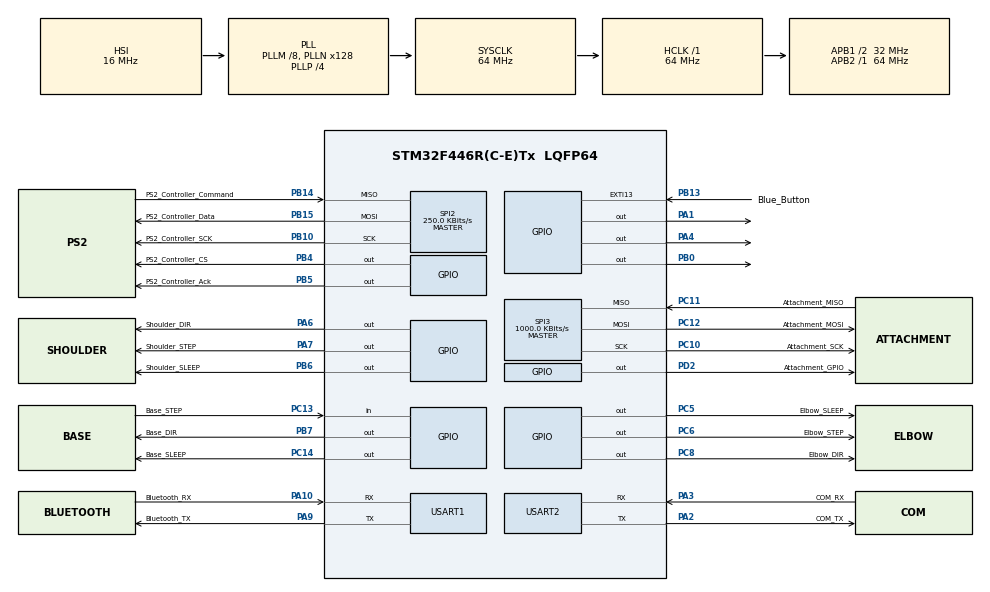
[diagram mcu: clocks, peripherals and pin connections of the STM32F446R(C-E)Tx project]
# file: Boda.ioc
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FREERTOS.Mutexes01=mPS2Data,Dynamic,NULL;mAttachmentCommand,Dynamic,NULL;BLE_Mutex,Dynamic,NULL
FREERTOS.Queues01=qCommandQueue,16,uint16_t,0,Dynamic,NULL,NULL;qResponseQueue,16,uint16_t,0,Dynamic,NULL,NULL
FREERTOS.Tasks01=PS2DataUpdate,40,128,StartPS2DataUpdate,Default,NULL,Dynamic,NULL,NULL;RobotArm,24,256,StartRobotArm,Default,NULL,Dynamic,NULL,NULL;Attachment,24,128,StartAttachment,Default,NULL,Dynamic,NULL,NULL;Bluetooth,40,128,StartBluetooth,Default,NULL,Dynamic,NULL,NULL;TESTING_THREAD,40,128,StartTESTING_THREAD,Default,NULL,Dynamic,NULL,NULL
FREERTOS.configENABLE_FPU=1
Mcu.Family=STM32F4
Mcu.Name=STM32F446R(C-E)Tx
Mcu.Package=LQFP64
NVIC.PriorityGroup=NVIC_PRIORITYGROUP_4
NVIC.TIM3_IRQn=true\:5\:0\:false\:false\:true\:true\:true\:true\:true
NVIC.TIM8_TRG_COM_TIM14_IRQn=true\:5\:0\:false\:false\:true\:true\:true\:true\:true
NVIC.TIM8_UP_TIM13_IRQn=true\:5\:0\:false\:false\:true\:true\:true\:true\:true
NVIC.USART1_IRQn=true\:5\:0\:false\:false\:true\:true\:true\:true\:true
PA1.Signal=GPIO_Output
PA10.GPIO_Label=Bluetooth_RX
PA10.Mode=Asynchronous
PA10.Signal=USART1_RX
PA2.GPIO_Label=COM_TX
PA2.Mode=Asynchronous
PA2.Signal=USART2_TX
PA3.GPIO_Label=COM_RX
PA3.Mode=Asynchronous
PA3.Signal=USART2_RX
PA4.Signal=GPIO_Output
PA6.GPIO_Label=Shoulder_DIR
PA6.Signal=GPIO_Output
PA7.GPIO_Label=Shoulder_STEP
PA7.Signal=GPIO_Output
PA9.GPIO_Label=Bluetooth_TX
PA9.Mode=Asynchronous
PA9.Signal=USART1_TX
PB0.Signal=GPIO_Output
PB10.GPIO_Label=PS2_Controller_SCK
PB10.Mode=Full_Duplex_Master
PB10.Signal=SPI2_SCK
PB13.GPIO_Label=Blue_Button
PB13.Signal=GPXTI13
PB14.GPIO_Label=PS2_Controller_Command
PB14.Mode=Full_Duplex_Master
PB14.Signal=SPI2_MISO
PB15.GPIO_Label=PS2_Controller_Data
PB15.Mode=Full_Duplex_Master
PB15.Signal=SPI2_MOSI
PB4.GPIO_Label=PS2_Controller_CS
PB4.Signal=GPIO_Output
PB5.GPIO_Label=PS2_Controller_Ack
PB5.Signal=GPIO_Output
PB6.GPIO_Label=Shoulder_SLEEP
PB6.Signal=GPIO_Output
PB7.GPIO_Label=Base_DIR
PB7.Signal=GPIO_Output
PC10.GPIO_Label=Attachment_SCK
PC10.Mode=Full_Duplex_Master
PC10.Signal=SPI3_SCK
PC11.GPIO_Label=Attachment_MISO
PC11.Mode=Full_Duplex_Master
PC11.Signal=SPI3_MISO
PC12.GPIO_Label=Attachment_MOSI
PC12.Mode=Full_Duplex_Master
PC12.Signal=SPI3_MOSI
PC13.GPIO_Label=Base_STEP
PC13.Signal=GPIO_Input
PC14-OSC32_IN.GPIO_Label=Base_SLEEP
PC14-OSC32_IN.Signal=GPIO_Output
PC5.GPIO_Label=Elbow_SLEEP
PC5.Signal=GPIO_Output
PC6.GPIO_Label=Elbow_STEP
PC6.Signal=GPIO_Output
PC8.GPIO_Label=Elbow_DIR
PC8.Signal=GPIO_Output
PD2.GPIO_Label=Attachment_GPIO
PD2.Signal=GPIO_Output
ProjectManager.HeapSize=0x200
ProjectManager.StackSize=0x400
ProjectManager.TargetToolchain=Makefile
RCC.48MHZClocksFreq_Value=84000000
RCC.AHBFreq_Value=64000000
RCC.APB1CLKDivider=RCC_HCLK_DIV2
RCC.APB1Freq_Value=32000000
RCC.APB1TimFreq_Value=64000000
RCC.APB2Freq_Value=64000000
RCC.APB2TimFreq_Value=64000000
RCC.CortexFreq_Value=64000000
RCC.FLatency-AdvancedSettings=FLASH_LATENCY_2
RCC.HCLKFreq_Value=64000000
RCC.HSE_VALUE=8000000
RCC.HSI_VALUE=16000000
RCC.PLLM=8
RCC.PLLN=128
RCC.PLLP=RCC_PLLP_DIV4
RCC.SYSCLKFreq_VALUE=64000000
RCC.SYSCLKSource=RCC_SYSCLKSOURCE_PLLCLK
RCC.USBFreq_Value=128000000
RCC.VCOOutputFreq_Value=256000000
SPI2.BaudRatePrescaler=SPI_BAUDRATEPRESCALER_128
SPI2.CLKPhase=SPI_PHASE_2EDGE
SPI2.CLKPolarity=SPI_POLARITY_HIGH
SPI2.CalculateBaudRate=250.0 KBits/s
SPI2.Direction=SPI_DIRECTION_2LINES
SPI2.FirstBit=SPI_FIRSTBIT_LSB
SPI2.Mode=SPI_MODE_MASTER
SPI2.VirtualType=VM_MASTER
SPI3.BaudRatePrescaler=SPI_BAUDRATEPRESCALER_32
SPI3.CLKPhase=SPI_PHASE_2EDGE
SPI3.CLKPolarity=SPI_POLARITY_HIGH
SPI3.CalculateBaudRate=1000.0 KBits/s
SPI3.DataSize=SPI_DATASIZE_16BIT
SPI3.Direction=SPI_DIRECTION_2LINES
SPI3.FirstBit=SPI_FIRSTBIT_MSB
SPI3.Mode=SPI_MODE_MASTER
SPI3.VirtualType=VM_MASTER
TIM1.Prescaler=72-1
TIM13.Prescaler=44
TIM14.Prescaler=44
TIM3.Prescaler=44
USART1.VirtualMode=VM_ASYNC
USART2.VirtualMode=VM_ASYNC
VP_FREERTOS_VS_CMSIS_V2.Mode=CMSIS_V2
VP_TIM13_VS_ClockSourceINT.Mode=Enable_Timer
VP_TIM14_VS_ClockSourceINT.Mode=Enable_Timer
VP_TIM1_VS_ClockSourceINT.Mode=Internal
VP_TIM3_VS_ClockSourceINT.Mode=Internal
board=NUCLEO-F446RE

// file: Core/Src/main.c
/* USER CODE BEGIN Header */
/**
 ******************************************************************************
 * @file           : main.c
 * @brief          : Main program body
 ******************************************************************************
 * @attention
 *
 * Copyright (c) 2023 STMicroelectronics.
 * All rights reserved.
 *
 * This software is licensed under terms that can be found in the LICENSE file
 * in the root directory of this software component.
 * If no LICENSE file comes with this software, it is provided AS-IS.
 *
 ******************************************************************************
 */
/* USER CODE END Header */
#include "main.h"
#include "cmsis_os.h"

/* USER CODE BEGIN Includes */

#include "string.h"
#include "PS2.h"
#include "A4988.h"
#include "robot_arm.h"
#include "stm32f4xx_hal_tim.h"
#include "stdbool.h"

/* USER CODE END Includes */

/* USER CODE BEGIN PTD */

// Motor 1
#define motor1_dir_port GPIOC
#define motor1_dir_pin GPIO_PIN_8
#define motor1_step_port GPIOC
#define motor1_step_pin GPIO_PIN_6
#define motor1_sleep_port GPIOC
#define motor1_sleep_pin GPIO_PIN_5

// Motor 2
#define motor2_dir_port GPIOA
#define motor2_dir_pin GPIO_PIN_6
#define motor2_step_port GPIOA
#define motor2_step_pin GPIO_PIN_7
#define motor2_sleep_port GPIOB
#define motor2_sleep_pin GPIO_PIN_6

// #define motor3_dir_port GPIOA
// #define motor3_dir_pin GPIO_PIN_6
// #define motor3_step_port GPIOA
// #define motor3_step_pin GPIO_PIN_7
// #define motor3_sleep_port GPIOB
// #define motor3_sleep_pin GPIO_PIN_6

// Motor 3
// #define motor3_dir_port GPIOB
// #define motor3_dir_pin GPIO_PIN_7
// #define motor3_step_port GPIOC
// #define motor3_step_pin GPIO_PIN_13
// #define motor3_sleep_port GPIOC
// #define motor3_sleep_pin GPIO_PIN_14

#define motor3_dir_port GPIOA
#define motor3_dir_pin GPIO_PIN_1
#define motor3_step_port GPIOA
#define motor3_step_pin GPIO_PIN_4
#define motor3_sleep_port GPIOB
#define motor3_sleep_pin GPIO_PIN_0

// #define motor2_dir_port GPIOA
// #define motor2_dir_pin GPIO_PIN_1
// #define motor2_step_port GPIOA
// #define motor2_step_pin GPIO_PIN_4
// #define motor2_sleep_port GPIOB
// #define motor2_sleep_pin GPIO_PIN_0

// Controller Input Processing
#define UPDATE_BUTTONS_SIGNAL 0x01

#define BUFFER_SIZE 20

/* USER CODE END PTD */

/* USER CODE BEGIN PM */

#define map_range(value, in_min, in_max, out_min, out_max) \
  (((value) - (in_min)) * ((out_max) - (out_min)) / ((in_max) - (in_min)) + (out_min))

#define low_rpm 50
#define high_rpm 300

/* USER CODE END PM */

SPI_HandleTypeDef hspi2;
SPI_HandleTypeDef hspi3;

TIM_HandleTypeDef htim1;
TIM_HandleTypeDef htim3;
TIM_HandleTypeDef htim13;
TIM_HandleTypeDef htim14;

UART_HandleTypeDef huart1;
UART_HandleTypeDef huart2;

/* Definitions for PS2DataUpdate */
osThreadId_t PS2DataUpdateHandle;
const osThreadAttr_t PS2DataUpdate_attributes = {
  .name = "PS2DataUpdate",
  .stack_size = 128 * 4,
  .priority = (osPriority_t) osPriorityHigh,
};
/* Definitions for RobotArm */
osThreadId_t RobotArmHandle;
const osThreadAttr_t RobotArm_attributes = {
  .name = "RobotArm",
  .stack_size = 256 * 4,
  .priority = (osPriority_t) osPriorityNormal,
};
/* Definitions for Attachment */
osThreadId_t AttachmentHandle;
const osThreadAttr_t Attachment_attributes = {
  .name = "Attachment",
  .stack_size = 128 * 4,
  .priority = (osPriority_t) osPriorityNormal,
};
/* Definitions for Bluetooth */
osThreadId_t BluetoothHandle;
const osThreadAttr_t Bluetooth_attributes = {
  .name = "Bluetooth",
  .stack_size = 128 * 4,
  .priority = (osPriority_t) osPriorityHigh,
};
/* Definitions for TESTING_THREAD */
osThreadId_t TESTING_THREADHandle;
const osThreadAttr_t TESTING_THREAD_attributes = {
  .name = "TESTING_THREAD",
  .stack_size = 128 * 4,
  .priority = (osPriority_t) osPriorityHigh,
};
/* Definitions for qCommandQueue */
osMessageQueueId_t qCommandQueueHandle;
const osMessageQueueAttr_t qCommandQueue_attributes = {
  .name = "qCommandQueue"
};
/* Definitions for qResponseQueue */
osMessageQueueId_t qResponseQueueHandle;
const osMessageQueueAttr_t qResponseQueue_attributes = {
  .name = "qResponseQueue"
};
/* Definitions for mPS2Data */
osMutexId_t mPS2DataHandle;
const osMutexAttr_t mPS2Data_attributes = {
  .name = "mPS2Data"
};
/* Definitions for mAttachmentCommand */
osMutexId_t mAttachmentCommandHandle;
const osMutexAttr_t mAttachmentCommand_attributes = {
  .name = "mAttachmentCommand"
};
/* Definitions for BLE_Mutex */
osMutexId_t BLE_MutexHandle;
const osMutexAttr_t BLE_Mutex_attributes = {
  .name = "BLE_Mutex"
};
/* USER CODE BEGIN PV */

PS2ControllerHandler ps2;
uint16_t attachmentCommand = 0;
bool attachmentConnected = false;
uint16_t ID = 0;

enum States
{
  Wait,
  Identify,
  Connecting,
  Input,
  Await,
  Disconnected
};

// ======== ATTACHMENT VARIABLES =============
volatile uint8_t attach_input;

float rpm = 300;
short microsteps = FULL_STEPS;
double deg = 20;
const short spr = 200; // Steps per revolution

uint8_t vert_val;
uint8_t horiz_val;
// volatile uint8_t receivedFlag = 0; // Flag to indicate data reception
// volatile uint8_t rxByte;           // Byte received from UART

// variables for Motors
stepper *motor1 = NULL;
stepper *motor2 = NULL;
stepper *motor3 = NULL;
stepper *motor4 = NULL;

// Variables for Robot Arm
arm *robot_arm;

uint8_t current_coord = 0;

uint8_t RxBuffer[BUFFER_SIZE] = {0}; // Buffer to store data received

uint8_t RxBuffer0[BUFFER_SIZE] = {0};

uint8_t Process_Buffer[BUFFER_SIZE] = {0};

/* USER CODE END PV */

void SystemClock_Config(void);
static void MX_GPIO_Init(void);
static void MX_SPI2_Init(void);
static void MX_TIM3_Init(void);
static void MX_USART2_UART_Init(void);
static void MX_TIM1_Init(void);
static void MX_TIM14_Init(void);
static void MX_SPI3_Init(void);
static void MX_TIM13_Init(void);
static void MX_USART1_UART_Init(void);
void StartPS2DataUpdate(void *argument);
void StartRobotArm(void *argument);
void StartAttachment(void *argument);
void StartBluetooth(void *argument);
void StartTESTING_THREAD(void *argument);

/* USER CODE BEGIN PFP */

void PS2_Init(PS2ControllerHandler *ps2);

uint16_t TransmitReceiveCommand(uint8_t cmd, uint8_t data);

/* USER CODE END PFP */

int main(void)
{

  /* MCU Configuration--------------------------------------------------------*/

  /* Reset of all peripherals, Initializes the Flash interface and the Systick. */
  HAL_Init();

  /* Configure the system clock */
  SystemClock_Config();

  /* Initialize all configured peripherals */
  MX_GPIO_Init();
  MX_SPI2_Init();
  MX_TIM3_Init();
  MX_USART2_UART_Init();
  MX_TIM1_Init();
  MX_TIM14_Init();
  MX_SPI3_Init();
  MX_TIM13_Init();
  MX_USART1_UART_Init();
  /* USER CODE BEGIN 2 */

  HAL_GPIO_WritePin(GPIOA, GPIO_PIN_4, GPIO_PIN_SET);

  // Enable TIM3 global Interrupt & set priority
  HAL_NVIC_SetPriority(TIM3_IRQn, 0, 0);
  HAL_NVIC_EnableIRQ(TIM3_IRQn);

  //----------PS2 INIT----------//
  PS2_Init(&ps2);

  /* USER CODE END 2 */

  /* Init scheduler */
  osKernelInitialize();
  /* Create the mutex(es) */
  /* creation of mPS2Data */
  mPS2DataHandle = osMutexNew(&mPS2Data_attributes);

  /* creation of mAttachmentCommand */
  mAttachmentCommandHandle = osMutexNew(&mAttachmentCommand_attributes);

  /* creation of BLE_Mutex */
  BLE_MutexHandle = osMutexNew(&BLE_Mutex_attributes);

  /* Create the queue(s) */
  /* creation of qCommandQueue */
  qCommandQueueHandle = osMessageQueueNew (16, sizeof(uint16_t), &qCommandQueue_attributes);

  /* creation of qResponseQueue */
  qResponseQueueHandle = osMessageQueueNew (16, sizeof(uint16_t), &qResponseQueue_attributes);

  /* Create the thread(s) */
  /* creation of PS2DataUpdate */
  PS2DataUpdateHandle = osThreadNew(StartPS2DataUpdate, NULL, &PS2DataUpdate_attributes);

  /* creation of RobotArm */
  RobotArmHandle = osThreadNew(StartRobotArm, NULL, &RobotArm_attributes);

  /* creation of Attachment */
  AttachmentHandle = osThreadNew(StartAttachment, NULL, &Attachment_attributes);

  /* creation of Bluetooth */
  BluetoothHandle = osThreadNew(StartBluetooth, NULL, &Bluetooth_attributes);

  /* creation of TESTING_THREAD */
  TESTING_THREADHandle = osThreadNew(StartTESTING_THREAD, NULL, &TESTING_THREAD_attributes);

  /* Start scheduler */
  osKernelStart();

  /* We should never get here as control is now taken by the scheduler */
  /* Infinite loop */

}

void SystemClock_Config(void)
{
  RCC_OscInitTypeDef RCC_OscInitStruct = {0};
  RCC_ClkInitTypeDef RCC_ClkInitStruct = {0};

  /** Configure the main internal regulator output voltage
  */
  __HAL_RCC_PWR_CLK_ENABLE();
  __HAL_PWR_VOLTAGESCALING_CONFIG(PWR_REGULATOR_VOLTAGE_SCALE3);

  /** Initializes the RCC Oscillators according to the specified parameters
  * in the RCC_OscInitTypeDef structure.
  */
  RCC_OscInitStruct.OscillatorType = RCC_OSCILLATORTYPE_HSI;
  RCC_OscInitStruct.HSIState = RCC_HSI_ON;
  RCC_OscInitStruct.HSICalibrationValue = RCC_HSICALIBRATION_DEFAULT;
  RCC_OscInitStruct.PLL.PLLState = RCC_PLL_ON;
  RCC_OscInitStruct.PLL.PLLSource = RCC_PLLSOURCE_HSI;
  RCC_OscInitStruct.PLL.PLLM = 8;
  RCC_OscInitStruct.PLL.PLLN = 128;
  RCC_OscInitStruct.PLL.PLLP = RCC_PLLP_DIV4;
  RCC_OscInitStruct.PLL.PLLQ = 2;
  RCC_OscInitStruct.PLL.PLLR = 2;
  if (HAL_RCC_OscConfig(&RCC_OscInitStruct) != HAL_OK)
  {
    Error_Handler();
  }

  /** Initializes the CPU, AHB and APB buses clocks
  */
  RCC_ClkInitStruct.ClockType = RCC_CLOCKTYPE_HCLK|RCC_CLOCKTYPE_SYSCLK
                              |RCC_CLOCKTYPE_PCLK1|RCC_CLOCKTYPE_PCLK2;
  RCC_ClkInitStruct.SYSCLKSource = RCC_SYSCLKSOURCE_PLLCLK;
  RCC_ClkInitStruct.AHBCLKDivider = RCC_SYSCLK_DIV1;
  RCC_ClkInitStruct.APB1CLKDivider = RCC_HCLK_DIV2;
  RCC_ClkInitStruct.APB2CLKDivider = RCC_HCLK_DIV1;

  if (HAL_RCC_ClockConfig(&RCC_ClkInitStruct, FLASH_LATENCY_2) != HAL_OK)
  {
    Error_Handler();
  }
}

static void MX_SPI2_Init(void)
{

  /* SPI2 parameter configuration*/
  hspi2.Instance = SPI2;
  hspi2.Init.Mode = SPI_MODE_MASTER;
  hspi2.Init.Direction = SPI_DIRECTION_2LINES;
  hspi2.Init.DataSize = SPI_DATASIZE_8BIT;
  hspi2.Init.CLKPolarity = SPI_POLARITY_HIGH;
  hspi2.Init.CLKPhase = SPI_PHASE_2EDGE;
  hspi2.Init.NSS = SPI_NSS_SOFT;
  hspi2.Init.BaudRatePrescaler = SPI_BAUDRATEPRESCALER_128;
  hspi2.Init.FirstBit = SPI_FIRSTBIT_LSB;
  hspi2.Init.TIMode = SPI_TIMODE_DISABLE;
  hspi2.Init.CRCCalculation = SPI_CRCCALCULATION_DISABLE;
  hspi2.Init.CRCPolynomial = 10;
  if (HAL_SPI_Init(&hspi2) != HAL_OK)
  {
    Error_Handler();
  }

}

static void MX_SPI3_Init(void)
{

  /* SPI3 parameter configuration*/
  hspi3.Instance = SPI3;
  hspi3.Init.Mode = SPI_MODE_MASTER;
  hspi3.Init.Direction = SPI_DIRECTION_2LINES;
  hspi3.Init.DataSize = SPI_DATASIZE_16BIT;
  hspi3.Init.CLKPolarity = SPI_POLARITY_HIGH;
  hspi3.Init.CLKPhase = SPI_PHASE_2EDGE;
  hspi3.Init.NSS = SPI_NSS_SOFT;
  hspi3.Init.BaudRatePrescaler = SPI_BAUDRATEPRESCALER_32;
  hspi3.Init.FirstBit = SPI_FIRSTBIT_MSB;
  hspi3.Init.TIMode = SPI_TIMODE_DISABLE;
  hspi3.Init.CRCCalculation = SPI_CRCCALCULATION_DISABLE;
  hspi3.Init.CRCPolynomial = 10;
  if (HAL_SPI_Init(&hspi3) != HAL_OK)
  {
    Error_Handler();
  }

}

static void MX_TIM1_Init(void)
{

  TIM_ClockConfigTypeDef sClockSourceConfig = {0};
  TIM_MasterConfigTypeDef sMasterConfig = {0};

  htim1.Instance = TIM1;
  htim1.Init.Prescaler = 72-1;
  htim1.Init.CounterMode = TIM_COUNTERMODE_UP;
  htim1.Init.Period = 65535;
  htim1.Init.ClockDivision = TIM_CLOCKDIVISION_DIV1;
  htim1.Init.RepetitionCounter = 0;
  htim1.Init.AutoReloadPreload = TIM_AUTORELOAD_PRELOAD_DISABLE;
  if (HAL_TIM_Base_Init(&htim1) != HAL_OK)
  {
    Error_Handler();
  }
  sClockSourceConfig.ClockSource = TIM_CLOCKSOURCE_INTERNAL;
  if (HAL_TIM_ConfigClockSource(&htim1, &sClockSourceConfig) != HAL_OK)
  {
    Error_Handler();
  }
  sMasterConfig.MasterOutputTrigger = TIM_TRGO_RESET;
  sMasterConfig.MasterSlaveMode = TIM_MASTERSLAVEMODE_DISABLE;
  if (HAL_TIMEx_MasterConfigSynchronization(&htim1, &sMasterConfig) != HAL_OK)
  {
    Error_Handler();
  }

}

static void MX_TIM3_Init(void)
{

  TIM_ClockConfigTypeDef sClockSourceConfig = {0};
  TIM_MasterConfigTypeDef sMasterConfig = {0};

  htim3.Instance = TIM3;
  htim3.Init.Prescaler = 44;
  htim3.Init.CounterMode = TIM_COUNTERMODE_UP;
  htim3.Init.Period = 65535;
  htim3.Init.ClockDivision = TIM_CLOCKDIVISION_DIV1;
  htim3.Init.AutoReloadPreload = TIM_AUTORELOAD_PRELOAD_DISABLE;
  if (HAL_TIM_Base_Init(&htim3) != HAL_OK)
  {
    Error_Handler();
  }
  sClockSourceConfig.ClockSource = TIM_CLOCKSOURCE_INTERNAL;
  if (HAL_TIM_ConfigClockSource(&htim3, &sClockSourceConfig) != HAL_OK)
  {
    Error_Handler();
  }
  sMasterConfig.MasterOutputTrigger = TIM_TRGO_RESET;
  sMasterConfig.MasterSlaveMode = TIM_MASTERSLAVEMODE_DISABLE;
  if (HAL_TIMEx_MasterConfigSynchronization(&htim3, &sMasterConfig) != HAL_OK)
  {
    Error_Handler();
  }

}

static void MX_TIM13_Init(void)
{

  htim13.Instance = TIM13;
  htim13.Init.Prescaler = 44;
  htim13.Init.CounterMode = TIM_COUNTERMODE_UP;
  htim13.Init.Period = 65535;
  htim13.Init.ClockDivision = TIM_CLOCKDIVISION_DIV1;
  htim13.Init.AutoReloadPreload = TIM_AUTORELOAD_PRELOAD_DISABLE;
  if (HAL_TIM_Base_Init(&htim13) != HAL_OK)
  {
    Error_Handler();
  }

}

static void MX_TIM14_Init(void)
{

  htim14.Instance = TIM14;
  htim14.Init.Prescaler = 44;
  htim14.Init.CounterMode = TIM_COUNTERMODE_UP;
  htim14.Init.Period = 65535;
  htim14.Init.ClockDivision = TIM_CLOCKDIVISION_DIV1;
  htim14.Init.AutoReloadPreload = TIM_AUTORELOAD_PRELOAD_DISABLE;
  if (HAL_TIM_Base_Init(&htim14) != HAL_OK)
  {
    Error_Handler();
  }

}

static void MX_USART1_UART_Init(void)
{

  huart1.Instance = USART1;
  huart1.Init.BaudRate = 115200;
  huart1.Init.WordLength = UART_WORDLENGTH_8B;
  huart1.Init.StopBits = UART_STOPBITS_1;
  huart1.Init.Parity = UART_PARITY_NONE;
  huart1.Init.Mode = UART_MODE_TX_RX;
  huart1.Init.HwFlowCtl = UART_HWCONTROL_NONE;
  huart1.Init.OverSampling = UART_OVERSAMPLING_16;
  if (HAL_UART_Init(&huart1) != HAL_OK)
  {
    Error_Handler();
  }

}

static void MX_USART2_UART_Init(void)
{

  huart2.Instance = USART2;
  huart2.Init.BaudRate = 115200;
  huart2.Init.WordLength = UART_WORDLENGTH_8B;
  huart2.Init.StopBits = UART_STOPBITS_1;
  huart2.Init.Parity = UART_PARITY_NONE;
  huart2.Init.Mode = UART_MODE_TX_RX;
  huart2.Init.HwFlowCtl = UART_HWCONTROL_NONE;
  huart2.Init.OverSampling = UART_OVERSAMPLING_16;
  if (HAL_UART_Init(&huart2) != HAL_OK)
  {
    Error_Handler();
  }

}

static void MX_GPIO_Init(void)
{
  GPIO_InitTypeDef GPIO_InitStruct = {0};

  /* GPIO Ports Clock Enable */
  __HAL_RCC_GPIOC_CLK_ENABLE();
  __HAL_RCC_GPIOA_CLK_ENABLE();
  __HAL_RCC_GPIOB_CLK_ENABLE();
  __HAL_RCC_GPIOD_CLK_ENABLE();

  /*Configure GPIO pin Output Level */
  HAL_GPIO_WritePin(GPIOC, Base_SLEEP_Pin|Elbow_SLEEP_Pin|Elbow_STEP_Pin|Elbow_DIR_Pin, GPIO_PIN_RESET);

  /*Configure GPIO pin Output Level */
  HAL_GPIO_WritePin(GPIOA, GPIO_PIN_1|GPIO_PIN_4|Shoulder_DIR_Pin|Shoulder_STEP_Pin, GPIO_PIN_RESET);

  /*Configure GPIO pin Output Level */
  HAL_GPIO_WritePin(GPIOB, GPIO_PIN_0|PS2_Controller_CS_Pin|PS2_Controller_Ack_Pin|Shoulder_SLEEP_Pin
                          |Base_DIR_Pin, GPIO_PIN_RESET);

  /*Configure GPIO pin Output Level */
  HAL_GPIO_WritePin(Attachment_GPIO_GPIO_Port, Attachment_GPIO_Pin, GPIO_PIN_RESET);

  /*Configure GPIO pin : Base_STEP_Pin */
  GPIO_InitStruct.Pin = Base_STEP_Pin;
  GPIO_InitStruct.Mode = GPIO_MODE_INPUT;
  GPIO_InitStruct.Pull = GPIO_NOPULL;
  HAL_GPIO_Init(Base_STEP_GPIO_Port, &GPIO_InitStruct);

  /*Configure GPIO pins : Base_SLEEP_Pin Elbow_SLEEP_Pin Elbow_STEP_Pin Elbow_DIR_Pin */
  GPIO_InitStruct.Pin = Base_SLEEP_Pin|Elbow_SLEEP_Pin|Elbow_STEP_Pin|Elbow_DIR_Pin;
  GPIO_InitStruct.Mode = GPIO_MODE_OUTPUT_PP;
  GPIO_InitStruct.Pull = GPIO_NOPULL;
  GPIO_InitStruct.Speed = GPIO_SPEED_FREQ_LOW;
  HAL_GPIO_Init(GPIOC, &GPIO_InitStruct);

  /*Configure GPIO pins : PA1 PA4 Shoulder_DIR_Pin Shoulder_STEP_Pin */
  GPIO_InitStruct.Pin = GPIO_PIN_1|GPIO_PIN_4|Shoulder_DIR_Pin|Shoulder_STEP_Pin;
  GPIO_InitStruct.Mode = GPIO_MODE_OUTPUT_PP;
  GPIO_InitStruct.Pull = GPIO_NOPULL;
  GPIO_InitStruct.Speed = GPIO_SPEED_FREQ_LOW;
  HAL_GPIO_Init(GPIOA, &GPIO_InitStruct);

  /*Configure GPIO pins : PB0 PS2_Controller_CS_Pin PS2_Controller_Ack_Pin Shoulder_SLEEP_Pin
                           Base_DIR_Pin */
  GPIO_InitStruct.Pin = GPIO_PIN_0|PS2_Controller_CS_Pin|PS2_Controller_Ack_Pin|Shoulder_SLEEP_Pin
                          |Base_DIR_Pin;
  GPIO_InitStruct.Mode = GPIO_MODE_OUTPUT_PP;
  GPIO_InitStruct.Pull = GPIO_NOPULL;
  GPIO_InitStruct.Speed = GPIO_SPEED_FREQ_LOW;
  HAL_GPIO_Init(GPIOB, &GPIO_InitStruct);

  /*Configure GPIO pin : Blue_Button_Pin */
  GPIO_InitStruct.Pin = Blue_Button_Pin;
  GPIO_InitStruct.Mode = GPIO_MODE_IT_RISING;
  GPIO_InitStruct.Pull = GPIO_NOPULL;
  HAL_GPIO_Init(Blue_Button_GPIO_Port, &GPIO_InitStruct);

  /*Configure GPIO pin : Attachment_GPIO_Pin */
  GPIO_InitStruct.Pin = Attachment_GPIO_Pin;
  GPIO_InitStruct.Mode = GPIO_MODE_OUTPUT_PP;
  GPIO_InitStruct.Pull = GPIO_NOPULL;
  GPIO_InitStruct.Speed = GPIO_SPEED_FREQ_LOW;
  HAL_GPIO_Init(Attachment_GPIO_GPIO_Port, &GPIO_InitStruct);

}

/* USER CODE BEGIN 4 */

void jog_motor(stepper *motor, float rpm, bool dir, int cont_amount)
{
  if (motor->steps_remaining)
  {
    motor->steps_remaining = cont_amount;
  }
  else
  {
    // move_stepper_steps(motor1, 500, 350.0);
    // set_rpm(motor, rpm);
    if (dir)
    {
      // move_stepper_deg(motor, cont_amount);
      move_stepper_steps(motor, cont_amount, rpm);
    }
    else
    {
      // move_stepper_deg(motor, -1*cont_amount);
      move_stepper_steps(motor, -1*cont_amount, rpm);
    }
  }
}

void HAL_UART_RxCpltCallback(UART_HandleTypeDef *huart)
{
  if (huart->Instance == USART1)
  {
    osMutexWait(BLE_MutexHandle, 50);
    for(int i = 0; i < BUFFER_SIZE; i++)
      {
          RxBuffer[i] = RxBuffer0[i];
      }
    osMutexRelease(BLE_MutexHandle);

    // Notify the BLE task that data has been received
    BaseType_t xHigherPriorityTaskWoken = pdFALSE;
    vTaskNotifyGiveFromISR(BluetoothHandle, &xHigherPriorityTaskWoken);
    portYIELD_FROM_ISR(xHigherPriorityTaskWoken);
  }
}

// Callback function
void HAL_TIM_PeriodElapsedCallback(TIM_HandleTypeDef *htim)
{
  callback_pulse(robot_arm, htim);
}

void PS2_Init(PS2ControllerHandler *ps2)
{
  ps2->Ack_GPIO = PS2_Controller_Ack_GPIO_Port;
  ps2->Ack_PIN = PS2_Controller_Ack_Pin;
  ps2->CS_GPIO = PS2_Controller_CS_GPIO_Port;
  ps2->CS_PIN = PS2_Controller_CS_Pin;
  ps2->spi = &hspi2;
  ps2->tim = &htim1;
  HAL_GPIO_WritePin(ps2->Ack_GPIO, ps2->Ack_PIN, GPIO_PIN_SET);
}

inline uint16_t TransmitReceiveCommand(uint8_t cmd, uint8_t data)
{
  if (attachmentConnected == false)
  {
    return 0;
  }

  uint16_t rsp = 0;
  uint16_t tempCmd = 0;
  // if the command is either set address or send index, 16 bits is needed to be sent
  if (0x20 > cmd && cmd > 0x0F)
  {
    tempCmd = (uint16_t)(cmd << 8) | data;
  }
  else if (cmd == 0x20 || cmd == 0x21 || cmd == 0x22 || cmd == 0x23 || cmd == 0x24 || cmd == 0x25 || cmd == 0x27)
  {
    tempCmd = (uint16_t)(cmd << 8) | data;
  }
  else
  {
    tempCmd = (uint16_t)(cmd << 8);
  }
  // // get the awaiting response mutex
  osMutexWait(mAttachmentCommandHandle, 50);

  // // set the command
  osMessageQueuePut(qCommandQueueHandle, (uint16_t *)&tempCmd, 0U, 50);

  // Receiving the message has a 5 ms delay so to make sure it doesnt hang, yield the thread this is called in to free resources
  osThreadYield();

  // Wait for response
  osMessageQueueGet(qResponseQueueHandle, (uint16_t *)&rsp, 0U, osWaitForever);

  // // return the response/result of command
  osMutexRelease(mAttachmentCommandHandle);
  return rsp;
}

/* USER CODE END 4 */

void StartPS2DataUpdate(void *argument)
{
  /* USER CODE BEGIN 5 */

  /* Infinite loop */
  // Attempt to get the PS2Data Mutex
  // for (;;)
  // {
  //   osMutexWait(mPS2DataHandle, 50);
  //   PS2_Update(&ps2);
  //   // delay for 25 microseconds
  //   osMutexRelease(mPS2DataHandle);
  //   osDelay(25U);
  // }
  // Return the PS2Data Mutex
  while(1)
  {
    osDelay(1);
  }
  /* USER CODE END 5 */
}

void StartRobotArm(void *argument)
{
  /* USER CODE BEGIN StartRobotArm */
  // Function Variables
  float rpm = 300;
  short microsteps = FULL_STEPS;
  double deg = 20;
  // const short spr = 200; // Steps per revolution

  stepper *stepper_motor1 = pvPortMalloc(sizeof(stepper));
  if (stepper_motor1 == NULL)
  {
    // Handle memory allocation error
  }

  stepper *stepper_motor2 = pvPortMalloc(sizeof(stepper));
  if (stepper_motor2 == NULL)
  {
    // Handle memory allocation error
  }

  stepper *stepper_motor3 = pvPortMalloc(sizeof(stepper));
  if (stepper_motor3 == NULL)
  {
    // Handle memory allocation error
  }

  // // Motor 3
  motor3 = stepper_motor3;
  init_stepper(motor3, 100, 80);
  init_dir_pin(motor3, motor3_dir_port, motor3_dir_pin);
  init_step_pin(motor3, motor3_step_port, motor3_step_pin);
  init_sleep_pin(motor3, motor3_sleep_port, motor3_sleep_pin);
  set_micro_en(motor3, 0);
  set_timer(motor3, &htim13);
  set_rpm(motor3, 40);

  // // Motor 2
  motor2 = stepper_motor2;
  init_stepper(motor2, 100, 80);
  init_dir_pin(motor2, motor2_dir_port, motor2_dir_pin);
  init_step_pin(motor2, motor2_step_port, motor2_step_pin);
  init_sleep_pin(motor2, motor2_sleep_port, motor2_sleep_pin);
  set_micro_en(motor2, 0);
  set_timer(motor2, &htim14);
  set_rpm(motor2, 40);

  // // Motor 1
  motor1 = stepper_motor1;
  init_stepper(motor1, 200, 1);
  init_dir_pin(motor1, motor1_dir_port, motor1_dir_pin);
  init_step_pin(motor1, motor1_step_port, motor1_step_pin);
  init_sleep_pin(motor1, motor1_sleep_port, motor1_sleep_pin);
  set_micro_en(motor1, 0);
  set_timer(motor1, &htim3);
  set_rpm(motor1, 10);
  // set_step_limit(motor1, 100);

  // // Robot Arm
  arm robot_arm_var;
  robot_arm = &robot_arm_var;
  init_arm(robot_arm, 200.0, 3, motor1, motor2, motor3);
  // init_arm(robot_arm, 200.0, 2, motor1, motor3);
  home(robot_arm);
  set_arm_rpm(robot_arm, 300);

  // uint8_t RxBuffer_prev[2] = {0};

  // volatile static int Test_RPM = 60;
  volatile static int M1_RPM = 0;
  volatile static int M2_RPM = 0;
  volatile static int M3_RPM = 0;

  volatile static int M3_cont = 0;
  // bool M1_stopped = true;
  // bool M2_stopped = true;
  // bool M3_stopped = true;
  volatile static uint8_t RxBuffer_PP1 = 0;
  // volatile static uint8_t press_counter = 0;
  volatile static int delay = 550;

  motor_off(motor1);
  motor_off(motor2);
  motor_off(motor3);

  /* Infinite loop */
  for (;;)
  {
    // Copy from RxBuffer to Process_Buffer
    // Mutex keeps the buffer from multiple access
    osMutexWait(BLE_MutexHandle, 50);
    for(int i = 0; i < BUFFER_SIZE; i++)
    {
        Process_Buffer[i] = RxBuffer[i];
    }
    osMutexRelease(BLE_MutexHandle);

    // Motor M1-M3 Control
    // ==========================================================================

    // M1
    M1_RPM = Process_Buffer[1];
    if (Process_Buffer[0] == 'C') // CW
    {
      robot_arm->is_jogging = true;
      jog_motor(motor1, M1_RPM, 1, 10);
    }
    else if (Process_Buffer[0] == 'W') // CCW
    {
      robot_arm->is_jogging = true;
      jog_motor(motor1, M1_RPM, 0, 10);
    }

    // M2
    M2_RPM = Process_Buffer[5];
    if (Process_Buffer[4] == 'C') // CW
    {
      robot_arm->is_jogging = true;
      jog_motor(motor2, M2_RPM, 1, 10);
    }
    else if (Process_Buffer[4] == 'W') // CCW
    {
      robot_arm->is_jogging = true;
      jog_motor(motor2, M2_RPM, 0, 10);
    }

    // M3
    M3_RPM = Process_Buffer[9];
    if (Process_Buffer[8] == 'C') // CW
    {
      robot_arm->is_jogging = true;
      // M3_cont = (int)M3_RPM*2;
      jog_motor(motor3, M3_RPM, 1, 10);
    }
    else if (Process_Buffer[8] == 'W') // CCW
    {
      robot_arm->is_jogging = true;
      // M3_cont = (int)M3_RPM*2;
      jog_motor(motor3, M3_RPM, 0, 10);
    }
    // ==========================================================================

    // Preset Position (PP) Control
    // ==========================================================================
    // PP requires for the motors to be stopped i.e. no steps_remaining
    if (!motor1->steps_remaining && !motor2->steps_remaining && !motor3->steps_remaining)
    {
      // Save Coordinate
      if (Process_Buffer[12] == 'S')
      {
        if (RxBuffer_PP1 != Process_Buffer[12])
        {
          char ack_data[2];
          ack_data[1] = save_coordinate(robot_arm) + 48;
          ack_data[0] = 'S';

          // HAL_UART_Transmit(&huart1, &ack_data, sizeof(ack_data), 10);
          HAL_UART_Transmit(&huart1, &ack_data, 2, 10);
          // HAL_UART_Transmit(&huart2, &ack_data, 2, 10);

          char motor_val_str[10];
          // Assuming robot_arm->coordinates[0].steps[0] is an integer that can be more than 9
          int motor_val = robot_arm->coordinates[0].steps[0];
          // Convert the integer to a string
          sprintf(motor_val_str, "%d", motor_val);
          HAL_UART_Transmit(&huart2, (uint8_t*)motor_val_str, strlen(motor_val_str), 10);

          // motor_val = robot_arm->coordinates[1].steps[0] + 48;
          // HAL_UART_Transmit(&huart2, &motor_val, 1, 10);
          osDelay(100);
        }
      }
      else if (Process_Buffer[12] == 'G')
      {
        robot_arm->is_jogging = false;
        if (RxBuffer_PP1 != Process_Buffer[12])
        {
          char motor_val_str[10];
          int motor_val = Process_Buffer[13];
          sprintf(motor_val_str, "%d", motor_val);
          HAL_UART_Transmit(&huart2, (uint8_t*)motor_val_str, strlen(motor_val_str), 10);
          if (Process_Buffer[13] < robot_arm->num_coords)
          {
            move_rpm(robot_arm, Process_Buffer[13], Process_Buffer[14]);
          }
        }
        osDelay(1000);
      }
      else if (Process_Buffer[12] == 'D')
      {
        if (RxBuffer_PP1 != Process_Buffer[12])
        {
          char ack_data[2];
          del_coordinate(robot_arm, Process_Buffer[13]);
          ack_data[0] = 'D';
          ack_data[1] = Process_Buffer[13] + 48;

          HAL_UART_Transmit(&huart1, &ack_data, 2, 10);
          osDelay(100);
        }
      }
    }
    // ==========================================================================

    // // ATTACHMENT
    // // [16] [17] [18] [19]
    // // 16 -> 'N' / 'A' for not active & active
    // // 17 -> Button input (Each Bit Is a Button Boolean)
    // // 18 -> 'D' when disconnect and 'C' when connected
    // // ==========================================================================
    // if (Process_Buffer[16] == 'A')
    // {
    //   // INPUT BYTE
    //   attach_input = Process_Buffer[17];

    //   // PRINT INPUT BYTE
    //   char ATTACH_VAL[10];
    //   int ATTACH_INT = Process_Buffer[17];
    //   sprintf(ATTACH_VAL, "%d\n", ATTACH_INT);
    //   HAL_UART_Transmit(&huart2, (uint8_t*)ATTACH_VAL, strlen(ATTACH_VAL), 10);
    // }

    // if (Process_Buffer[18] == 'D' && attachmentConnected)
    // {
    //   char ack_data[2];
    //   ack_data[0] = 'C';
    //   ack_data[1] = ID >> 8;
    //   HAL_UART_Transmit(&huart1, &ack_data, 2, 10);
    //   HAL_UART_Transmit(&huart2, &ack_data, 2, 10);
    //   osDelay(1000);
    // }
    // // ==========================================================================

    // copy buffer to avoid repeated presses
    RxBuffer_PP1 = Process_Buffer[12];

  }
  /* USER CODE END StartRobotArm */
}

void StartAttachment(void *argument)
{
  /* USER CODE BEGIN StartAttachment */

  /* Infinite loop */
  uint16_t transmit = 0;
  uint16_t received = 0;
  uint8_t lowByte;
  uint8_t highByte;

  enum States curState = Wait;
  enum States prevState = Wait;

  uint8_t buttons[8] = {X, X, X, X, X, X, X, X};
  uint8_t buttonsBuffer[9] = {0, 0, 0, 0, 0, 0, 0, 0, '\n'};
  uint8_t buffer[3] = {0, 0, '\n'};
  uint8_t buttonsGotten = 0;

  uint8_t inputs;

  uint8_t tempDelay = 0;
  uint8_t baseDelay = 4;

  uint8_t temp = 0;
  HAL_GPIO_WritePin(GPIOB, GPIO_PIN_13, GPIO_PIN_SET);

  for (;;)
  {
    transmit = 0;
    switch (curState)
    {
    case Wait:
      // always waiting for a response with no delay: Waiting for 0x01 received
      attachmentCommand = 0;
      buttonsGotten = 0;
      attachmentConnected = false;
      ID = 0;
      break;
    case Identify:
      attachmentCommand = 0x6400;
      buttonsGotten = 0;
      break;
    case Connecting:
      if (buttonsGotten == 0)
      {
        attachmentCommand = 0x0100;
      }
      else if (buttonsGotten == 2)
      {
        attachmentCommand = 0x0200;
      }
      else if (buttonsGotten == 4)
      {
        attachmentCommand = 0x0300;
      }
      else if (buttonsGotten == 6)
      {
        attachmentCommand = 0x0400;
      }
      attachmentConnected = false;
      break;
    case Input:
      attachmentConnected = true;
      break;
    case Await:
      break;
    case Disconnected:
      // send the emergency response command
      attachmentCommand = 0x0E00;
      attachmentConnected = false;
      break;
    default:
      break;
    }
    // If an attachment is connected, send the inputs
    if (attachmentConnected)
    {
      inputs = attach_input;
      transmit |= inputs;
      inputs = 0;
      osMessageQueueGet(qCommandQueueHandle, (uint16_t *)&attachmentCommand, 0U, 0U);
    }

    asm("nop");
    uint8_t c = (uint8_t)(attachmentCommand >> 8);
    // If the command is Set Index or Send Data to Index, the whole 16 bits is needed
    if (0x2000 > attachmentCommand && attachmentCommand > 0x0FFF)
    {
      transmit = attachmentCommand;
    }
    else if (c == 0x20 || c == 0x21 || c == 0x22 || c == 0x23 || c == 0x24 || c == 0x25 || c == 0x27)
    {
      transmit = attachmentCommand;
    }
    // else, set the command to be transmitted
    else
    {
      transmit |= attachmentCommand;
    }

    // Transmit the Input, Send Command
    HAL_GPIO_WritePin(Attachment_GPIO_GPIO_Port, Attachment_GPIO_Pin, GPIO_PIN_RESET);
    HAL_SPI_TransmitReceive(&hspi3, (uint8_t *)&transmit, (uint8_t *)&received, 1, 1);
    HAL_GPIO_WritePin(Attachment_GPIO_GPIO_Port, Attachment_GPIO_Pin, GPIO_PIN_SET);

    // check for Disconnection, receiving 0 is always bad unless its data:
    if (received == 0 && curState != Wait && prevState != Disconnected && curState != Disconnected)
    {
      curState = Disconnected;
    }
    else if (tempDelay > 0)
    {
      tempDelay--;
    }
    else
    {
      // check/change states
      switch (curState)
      {
      case Wait:
        osMessageQueueReset(qCommandQueueHandle);
        osMessageQueueReset(qResponseQueueHandle);
        // if the 0x01 we wanted is received:
        if (received == 0x0001)
        {
          prevState = curState;
          curState = Identify;
          tempDelay = baseDelay;
        }
        break;
      case Identify:
        prevState = curState;
        curState = Await;
        tempDelay = baseDelay;
        break;
      case Connecting:
        prevState = curState;
        curState = Await;
        tempDelay = baseDelay;
        break;
      case Input:
        prevState = curState;
        // get attachment command mutex
        // if it isnt zero
        if (attachmentCommand != 0)
        {
          attachmentCommand = 0;
          curState = Await;
        }
        break;
      case Await:
        // anytime this state is checked, a response to the previously issued command should have been gotten

        // Based on previous state, go to next one
        switch (prevState)
        {
        case Wait:
          break;
        case Identify:
          //  if response is valid?
          if (received != 0x01)
          {
            prevState = curState;
            curState = Connecting;
            temp = (uint8_t)(received & 0xFF);
            ID = (received >> 8);
            ID |= ((uint16_t)temp << 8);

            // Test Code ------------------------------
            HAL_UART_Transmit(&huart2, "\nID: ", 6, 1);
            HAL_UART_Transmit(&huart2, (uint8_t *)&ID, 2, 1);
            HAL_UART_Transmit(&huart2, "\n", 1, 1);
            // Test Code ------------------------------
          }
          else
          {
            prevState = curState;
            curState = Disconnected;
          }
          break;
        case Connecting:
          lowByte = (uint8_t)(received & 0xFF);
          highByte = (uint8_t)((received >> 8) & 0xFF);
          // If Not Valid Data something might be wrong
          if (lowByte == X || lowByte == CIRCLE || lowByte == TRIANGLE || lowByte == SQUARE || lowByte == R1 || lowByte == R2 || lowByte == L1 || lowByte == L2)
          {
            if (highByte == X || highByte == CIRCLE || highByte == TRIANGLE || highByte == SQUARE || highByte == R1 || highByte == R2 || highByte == L1 || highByte == L2)
            {
              buttons[buttonsGotten] = lowByte;
              buttons[buttonsGotten + 1] = highByte;
              buttonsGotten += 2;
              prevState = curState;
              curState = Connecting;
            }
          }

          // If all buttons have been gotten go to Input State
          if (buttonsGotten == 8)
          {
            prevState = curState;
            curState = Input;
            attachmentConnected = true;
            // TEST CODE---------------------------------------------
            // HAL_UART_Transmit(&huart2, "\n", 1, 1);
            // for (int i = 0; i < 8; i++)
            // {
            //   switch (buttons[i])
            //   {
            //   case X:
            //     buttonsBuffer[i] = 'X';
            //     break;
            //   case CIRCLE:
            //     buttonsBuffer[i] = 'O';
            //     break;
            //   case TRIANGLE:
            //     buttonsBuffer[i] = '^';
            //     break;
            //   case SQUARE:
            //     buttonsBuffer[i] = 'S';
            //     break;
            //   case R1:
            //     buttonsBuffer[i] = 'r';
            //     break;
            //   case R2:
            //     buttonsBuffer[i] = 'R';
            //     break;
            //   case L1:
            //     buttonsBuffer[i] = 'l';
            //     break;
            //   case L2:
            //     buttonsBuffer[i] = 'L';
            //     break;
            //   default:
            //     buttonsBuffer[i] = 'G';
            //     break;
            //   }
            // }
            // HAL_UART_Transmit(&huart2, (uint8_t *)&buttonsBuffer, 9, 1);
            // TEST CODE---------------------------------------------
          }
          break;
        case Input:
          attachmentConnected = true;
          if (attachmentCommand != 0)
          {
            osMessageQueuePut(qResponseQueueHandle, (uint16_t *)&received, 0U, 0U);
            attachmentCommand = 0;
          }
          break;
        case Disconnected:
          if ((uint8_t)(received & 0xFF) == 0xAA)
          {
            curState = Input;
          }
          else
          {
            curState = Wait;
          }
          break;
        default:
          break;
        }
        break;
      case Disconnected:
        prevState = curState;
        curState = Await;
        tempDelay = baseDelay;
        break;
      default:
        break;
      }
    }

    osDelay(1);
  }
  // while(1)
  // {
  //   osDelay(1);
  // }
  /* USER CODE END StartAttachment */
}

void StartBluetooth(void *argument)
{
  /* USER CODE BEGIN StartBluetooth */
  // Set the NVIC priority for USART1 interrupts to 5, with 0 subpriority.
  // Priorities lower than the RTOS max syscall interrupt priority
  HAL_NVIC_SetPriority(USART1_IRQn, 5, 0);

  // Enable the interrupt request (IRQ) for USART1.
  HAL_NVIC_EnableIRQ(USART1_IRQn);

  // Begin asynchronous reception on USART1 using interrupt mode.
  HAL_UART_Receive_IT(&huart1, RxBuffer0, sizeof(RxBuffer0));

  // Task loop
  for (;;)
  {
    // Wait indefinitely for a notification from the UART interrupt callback.
    // The notification indicates that data has been received.
    // If ulTaskNotifyTake returns a value greater than 0,
    // it means a notification was received successfully.
    if (ulTaskNotifyTake(pdTRUE, portMAX_DELAY) > 0)
    {
      // Prepare to receive more data
      HAL_UART_Receive_IT(&huart1, RxBuffer0, sizeof(RxBuffer0));
    }

    osDelay(1);
  }
  /* USER CODE END StartBluetooth */
}

void StartTESTING_THREAD(void *argument)
{
  /* USER CODE BEGIN StartTESTING_THREAD */
  /* Infinite loop */
  uint16_t old_ID = 0;
  bool sent_update = false;
  bool new_connect = true;
  for (;;)
  {
    // if (attachmentConnected && (old_ID != ID))
    // {
    //   char attach_ID = ID >> 8;
    //   HAL_UART_Transmit(&huart1, &attach_ID, 1, 10);
    //   old_ID = ID;
    // }

    if (attachmentConnected && new_connect)
    {
      // char attach_ID = ID >> 8;
      // HAL_UART_Transmit(&huart1, &attach_ID, 1, 10);
      // HAL_UART_Transmit(&huart2, &attach_ID, 1, 10);

      char ack_data[2];
      ack_data[0] = 'C';
      ack_data[1] = ID >> 8;
      HAL_UART_Transmit(&huart1, &ack_data, 2, 10);
      HAL_UART_Transmit(&huart2, &ack_data, 2, 10);

      new_connect = false;
      sent_update = false;
      osDelay(100);
    }
    else if (!attachmentConnected)
    {
      if (!sent_update)
      {

        char ack_data[2];
        ack_data[0] = 'C';
        ack_data[1] = '0';
        HAL_UART_Transmit(&huart1, &ack_data, 2, 10);
        HAL_UART_Transmit(&huart2, &ack_data, 2, 10);

        // char no_attachment_char = '0';
        // HAL_UART_Transmit(&huart1, &no_attachment_char, 1, 10);
        // HAL_UART_Transmit(&huart2, &no_attachment_char, 1, 10);
        sent_update = true;
        osDelay(100);
      }
      new_connect = true;
    }

    // ATTACHMENT
    // [16] [17] [18] [19]
    // 16 -> 'N' / 'A' for not active & active
    // 17 -> Button input (Each Bit Is a Button Boolean)
    // 18 -> 'D' when disconnect and 'C' when connected
    // ==========================================================================
    if (Process_Buffer[16] == 'A')
    {
      // INPUT BYTE
      attach_input = Process_Buffer[17];

      // PRINT INPUT BYTE
      char ATTACH_VAL[10];
      int ATTACH_INT = Process_Buffer[17];
      sprintf(ATTACH_VAL, "%d\n", ATTACH_INT);
      HAL_UART_Transmit(&huart2, (uint8_t*)ATTACH_VAL, strlen(ATTACH_VAL), 10);
    }

    if (Process_Buffer[18] == 'D' && attachmentConnected)
    {
      char ack_data[2];
      ack_data[0] = 'C';
      ack_data[1] = ID >> 8;
      HAL_UART_Transmit(&huart1, &ack_data, 2, 10);
      HAL_UART_Transmit(&huart2, &ack_data, 2, 10);
      osDelay(1000);
    }
    // ==========================================================================

    // else
    // {
    //   old_ID = 0;
    // }
    osDelay(1);
  }
  // while(1)
  // {
  //   osDelay(1);
  // }
  /* USER CODE END StartTESTING_THREAD */
}

void Error_Handler(void)
{
  __disable_irq();
  while (1)
  {
  }
}

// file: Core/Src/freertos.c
/* USER CODE BEGIN Header */
/**
  ******************************************************************************
  * File Name          : freertos.c
  * Description        : Code for freertos applications
  ******************************************************************************
  * @attention
  *
  * Copyright (c) 2023 STMicroelectronics.
  * All rights reserved.
  *
  * This software is licensed under terms that can be found in the LICENSE file
  * in the root directory of this software component.
  * If no LICENSE file comes with this software, it is provided AS-IS.
  *
  ******************************************************************************
  */
/* USER CODE END Header */

#include "FreeRTOS.h"
#include "task.h"
#include "main.h"
#include "cmsis_os.h"
#include <string.h>
#include "usart.h"
#include "gpio.h"

/* Definitions for defaultTask */
osThreadId_t defaultTaskHandle;
const osThreadAttr_t defaultTask_attributes = {
  .name = "defaultTask",
  .stack_size = 128 * 4,
  .priority = (osPriority_t) osPriorityNormal,
};
/* Definitions for Task1 */
osThreadId_t Task1Handle;
const osThreadAttr_t Task1_attributes = {
  .name = "Task1",
  .stack_size = 128 * 4,
  .priority = (osPriority_t) osPriorityLow,
};

void StartDefaultTask(void *argument);
void StartTask1(void *argument);

void MX_FREERTOS_Init(void); /* (MISRA C 2004 rule 8.1) */

void MX_FREERTOS_Init(void) {

  /* Create the thread(s) */
  /* creation of defaultTask */
  defaultTaskHandle = osThreadNew(StartDefaultTask, NULL, &defaultTask_attributes);

  /* creation of Task1 */
  Task1Handle = osThreadNew(StartTask1, NULL, &Task1_attributes);

}

void StartDefaultTask(void *argument)
{
  /* USER CODE BEGIN StartDefaultTask */
  char *message = "Hello, UART!\r\n";
  /* Infinite loop */
  while (1) {
    HAL_UART_Transmit(&huart2, (uint8_t *)message, strlen(message), 100);
    vTaskDelay(pdMS_TO_TICKS(1000));

  }
  /* USER CODE END StartDefaultTask */
}

void StartTask1(void *argument)
{
  /* USER CODE BEGIN StartTask1 */
  /* Infinite loop */
  while (1) {
        HAL_GPIO_TogglePin(GPIOA, LD2_Pin);
        vTaskDelay(pdMS_TO_TICKS(100));
  }
  /* USER CODE END StartTask1 */
}
